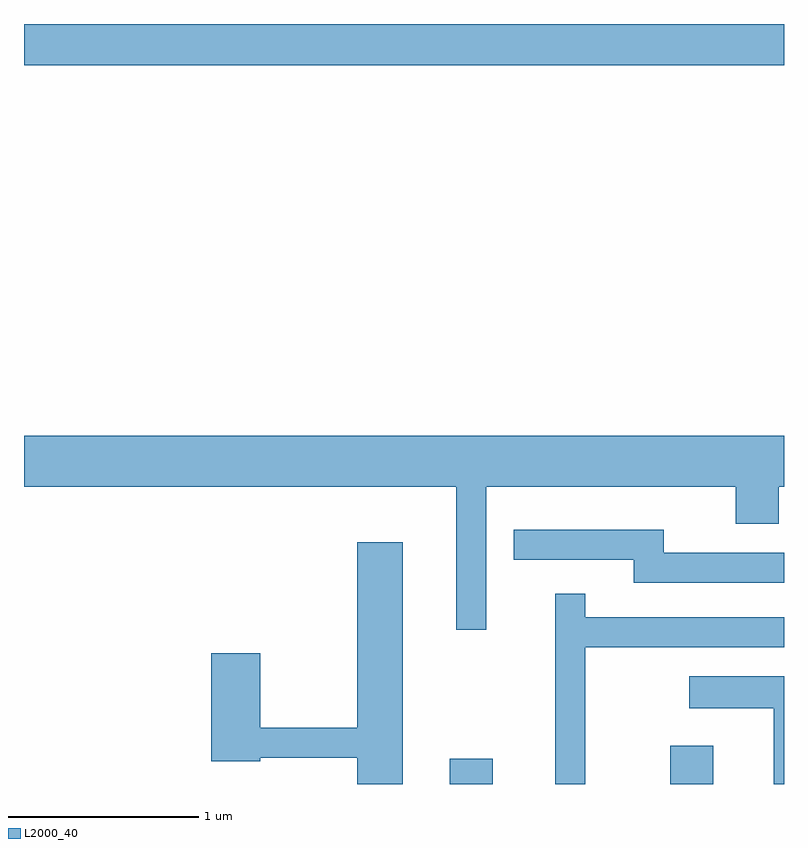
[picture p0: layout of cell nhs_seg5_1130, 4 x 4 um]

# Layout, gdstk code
import gdstk
lib = gdstk.Library(unit=1e-6, precision=1e-09)
def R(c, l, rs):  # rectangles x0, y0, x1, y1
    for r in rs: c.add(gdstk.rectangle(r[:2], r[2:], *l))
def P(c, l, *ps):  # polygons
    for p in ps: c.add(gdstk.Polygon(p, *l))
L2000_40 = (2000, 40)

nhs_seg5_1130 = lib.new_cell('nhs_seg5_1130')
R(nhs_seg5_1130, L2000_40, [(219.851,1504.072,220.079,1504.204), (221.011,1504.072,221.239,1504.274), (217.611,1507.856,221.611,1508.072)])
P(nhs_seg5_1130, L2000_40, [(220.044,1505.636),(221.356,1505.636),(221.356,1505.441),(221.584,1505.441),(221.584,1505.636),(221.611,1505.636),(221.611,1505.904),(217.611,1505.904),(217.611,1505.636),(219.886,1505.636),(219.886,1504.883),(220.044,1504.883)],
  [(221.611,1505.289),(220.979,1505.289),(220.979,1505.409),(220.188,1505.409),(220.188,1505.251),(220.821,1505.251),(220.821,1505.131),(221.611,1505.131)],
  [(219.604,1505.344),(219.366,1505.344),(219.366,1504.369),(218.854,1504.369),(218.854,1504.759),(218.596,1504.759),(218.596,1504.191),(218.854,1504.191),(218.854,1504.211),(219.366,1504.211),(219.366,1504.072),(219.604,1504.072)],
  [(220.564,1504.791),(221.611,1504.791),(221.611,1504.949),(220.564,1504.949),(220.564,1505.073),(220.406,1505.073),(220.406,1504.072),(220.564,1504.072)],
  [(221.611,1504.639),(221.113,1504.639),(221.113,1504.471),(221.556,1504.471),(221.556,1504.072),(221.611,1504.072)])

lib.write_gds('nhs_seg5_1130.gds')
